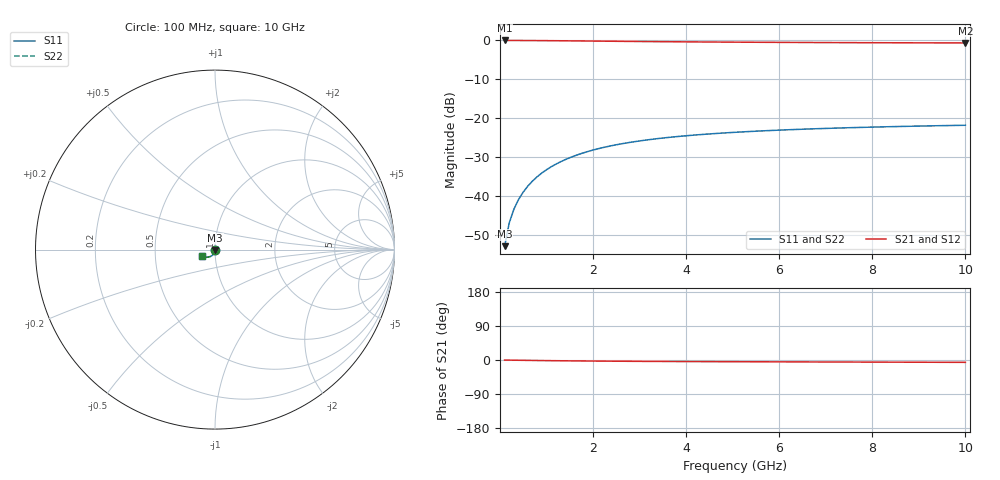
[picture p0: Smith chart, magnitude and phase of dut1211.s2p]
! Touchstone file exported from HFSS 2024.1.0
!  File:  C:/UserFiles/LocalFiles/RDL_TSV_Batchsim/temp_TSV1_1211_1780248402.aedt
!  Generated:  01:31:53 AM Jun  1, 2026
!  Design:  TSV1
!  Project:  temp_TSV1_1211_1780248402
!  Setup:  Setup1
!  Solution:  Sweep
! Variables:
!  dtsv = 14.69um
!  hbump = 3um
!  htsv = 93.15um
!  lrdl = 252.1521522um
!  p = 40
!  p1 = 45.47um
!  t = 500um
!  trdl = 3um
!  wrdl = 24.89489489um
# GHz S MA R 50.000000
! Terminal data exported
! Port[1] = TSV22_T1
! Port[2] = TSV22_T2
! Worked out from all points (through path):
!   100 points, 100 MHz to 10 GHz, reference 50 ohm
!   highest |S21| = 0.00 dB at 100 MHz (marker M1); lowest = -0.6 dB at 10 GHz (marker M2)
!   lowest |S11| = -53.0 dB at 100 MHz (marker M3), VSWR 1.00, Z = 50 - j0.224 ohm
!   |S11| at or under -10 dB: start of sweep to end of sweep
!   |S22| runs from -53.0 to -21.8 dB; largest |S21 - S12| = 4e-15
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0.1  0.002239 -89.3  0.9998 -0.2  0.9998 -0.2  0.002239 -89.3
! Gamma 0 0 0 0
! Port Impedance 50 0 50 0
0.2  0.004479 -91.8  0.9996 -0.3  0.9996 -0.3  0.004479 -91.8
0.3  0.006717 -93.8  0.9993 -0.5  0.9993 -0.5  0.006717 -93.8
0.4  0.008942 -95.5  0.9988 -0.7  0.9988 -0.7  0.008942 -95.5
0.5  0.01114 -97.3  0.9983 -0.8  0.9983 -0.8  0.01114 -97.3
0.6  0.01332 -98.9  0.9976 -1.0  0.9976 -1.0  0.01332 -98.9
0.7  0.01546 -100.5  0.9969 -1.2  0.9969 -1.2  0.01546 -100.5
0.8  0.01756 -102.1  0.996 -1.3  0.996 -1.3  0.01756 -102.1
0.9  0.01961 -103.7  0.9951 -1.5  0.9951 -1.5  0.01961 -103.7
1.1  0.02358 -106.6  0.9931 -1.7  0.9931 -1.7  0.02358 -106.6
1.4  0.02913 -110.8  0.9896 -2.1  0.9896 -2.1  0.02913 -110.8
1.6  0.03255 -113.5  0.9871 -2.4  0.9871 -2.4  0.03255 -113.5
1.8  0.03576 -115.9  0.9845 -2.6  0.9845 -2.6  0.03576 -115.9
2.1  0.04015 -119.3  0.9806 -2.9  0.9806 -2.9  0.04015 -119.3
2.5  0.04531 -123.4  0.9755 -3.2  0.9755 -3.2  0.04531 -123.4
2.9  0.04976 -127.0  0.9707 -3.5  0.9707 -3.5  0.04976 -127.0
3.4  0.05449 -130.8  0.9651 -3.8  0.9651 -3.8  0.05449 -130.8
4.2  0.06056 -135.8  0.9575 -4.2  0.9575 -4.2  0.06056 -135.8
5.1  0.06583 -140.3  0.9504 -4.5  0.9504 -4.5  0.06583 -140.3
6.7  0.07259 -146.1  0.941 -5.1  0.941 -5.1  0.07259 -146.1
8.4  0.0775 -150.5  0.9338 -5.7  0.9338 -5.7  0.0775 -150.5
10  0.08083 -153.7  0.929 -6.2  0.929 -6.2  0.08083 -153.7
